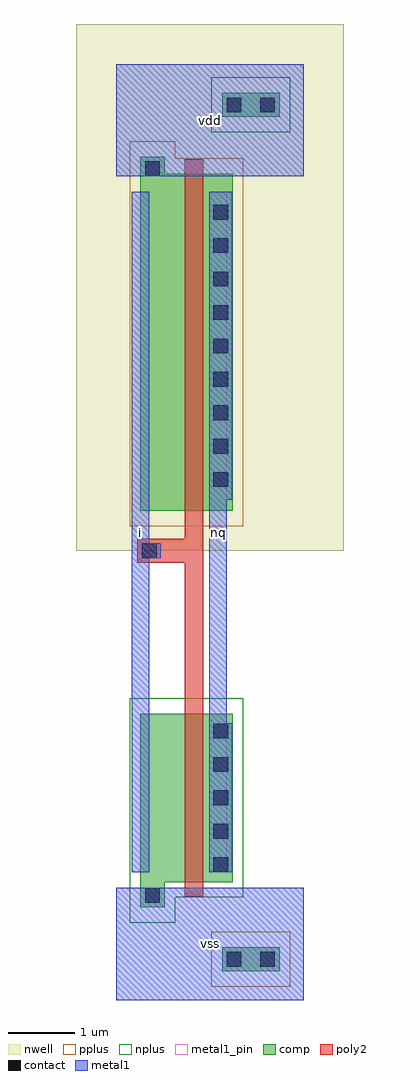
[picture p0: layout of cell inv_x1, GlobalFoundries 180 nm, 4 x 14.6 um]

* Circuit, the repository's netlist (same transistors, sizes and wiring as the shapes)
* inv_x1
.subckt inv_x1 vdd vss i nq
Mn vss i nq vss nfet_03v3 l=0.28um w=2.52um
Mp vdd i nq vdd pfet_03v3 l=0.28um w=5.04um
.ends inv_x1

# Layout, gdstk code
import gdstk
lib = gdstk.Library(unit=1e-6, precision=1e-09)
def R(c, l, rs):  # rectangles x0, y0, x1, y1
    for r in rs: c.add(gdstk.rectangle(r[:2], r[2:], *l))
def A(c, l, x, y, w, h, nx, ny, dx, dy):  # array of equal rectangles
    R(c, l, [(x+i*dx, y+j*dy, x+i*dx+w, y+j*dy+h) for i in range(nx) for j in range(ny)])
def P(c, l, *ps):  # polygons
    for p in ps: c.add(gdstk.Polygon(p, *l))
nwell = (21, 0)
comp = (22, 0)
poly2 = (30, 0)
pplus = (31, 0)
nplus = (32, 0)
contact = (33, 0)
metal1 = (34, 0)
metal1_pin = (34, 10)

inv_x1 = lib.new_cell('inv_x1')
R(inv_x1, nwell, [(-0.6,6.72,3.4,14.6)])
R(inv_x1, comp, [(1.58,0.43,2.44,0.79), (1.58,13.21,2.44,13.57)])
P(inv_x1, comp, [(0.36,1.385),(0.36,4.285),(1.74,4.285),(1.74,1.765),(0.72,1.765),(0.72,1.385)],
  [(0.36,7.32),(0.36,12.615),(0.72,12.615),(0.72,12.36),(1.74,12.36),(1.74,7.32)])
P(inv_x1, poly2, [(1.02,1.545),(1.02,6.54),(0.31,6.54),(0.31,6.9),(1.02,6.9),(1.02,12.58),(1.3,12.58),(1.3,1.545)])
R(inv_x1, pplus, [(1.42,0.2,2.6,1.02)])
P(inv_x1, pplus, [(0.2,7.09),(0.2,12.845),(0.88,12.845),(0.88,12.59),(1.9,12.59),(1.9,7.09)])
R(inv_x1, nplus, [(1.42,12.98,2.6,13.8)])
P(inv_x1, nplus, [(0.2,1.155),(0.2,4.515),(1.9,4.515),(1.9,1.535),(0.88,1.535),(0.88,1.155)])
A(inv_x1, contact, 1.45, 1.915, 0.22, 0.22, 1, 5, 0, 0.5)
A(inv_x1, contact, 1.45, 7.675, 0.22, 0.22, 1, 9, 0, 0.5)
R(inv_x1, contact, [(1.65,0.5,1.87,0.72), (2.15,0.5,2.37,0.72), (0.43,1.455,0.65,1.675), (0.38,6.61,0.6,6.83), (0.43,12.325,0.65,12.545), (1.65,13.28,1.87,13.5), (2.15,13.28,2.37,13.5)])
R(inv_x1, metal1, [(0,0,2.8,1.68), (0,12.32,2.8,14)])
P(inv_x1, metal1, [(0.23,1.91),(0.23,12.09),(0.49,12.09),(0.49,6.835),(0.66,6.835),(0.66,6.605),(0.49,6.605),(0.49,1.91)],
  [(1.39,1.91),(1.39,12.09),(1.73,12.09),(1.73,7.48),(1.65,7.48),(1.65,4.14),(1.73,4.14),(1.73,1.91)])
R(inv_x1, metal1_pin, [(0,0,2.8,1.68), (0.23,1.91,0.49,12.09), (1.39,1.91,1.65,12.09), (0,12.32,2.8,14)])
inv_x1.add(gdstk.Label('i', (0.36,7), layer=34, texttype=10))
inv_x1.add(gdstk.Label('vss', (1.4,0.84), layer=34, texttype=10))
inv_x1.add(gdstk.Label('vdd', (1.4,13.16), layer=34, texttype=10))
inv_x1.add(gdstk.Label('nq', (1.52,7), layer=34, texttype=10))

lib.write_gds('inv_x1.gds')
